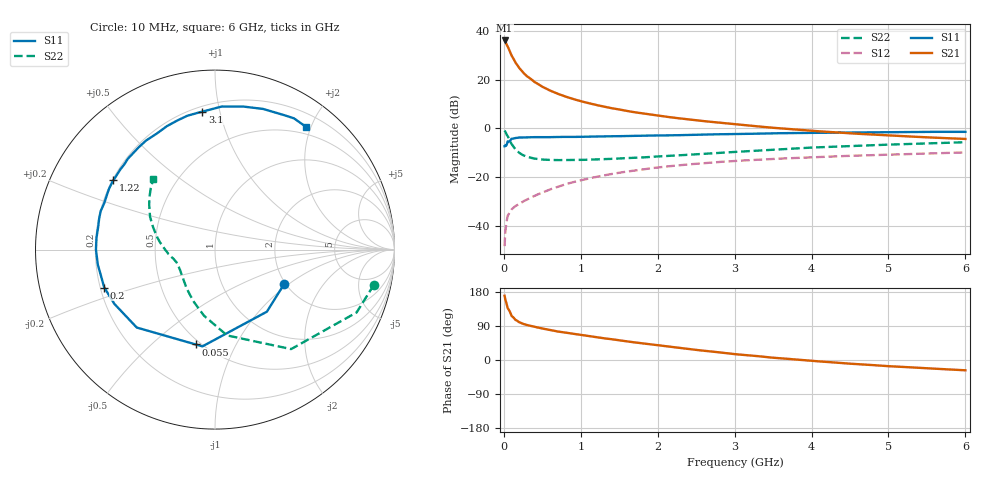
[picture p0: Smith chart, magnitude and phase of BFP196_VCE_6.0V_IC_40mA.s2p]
! Infineon Technologies  Discrete & RF Semiconductors
! BFP196
! VCE = 6.0 V,  IC =  40mA
! Common Emitter S-Parameters:  Jan 2016
# GHz  S  MA  R  50
!  f  S11  S21  S12  S22
! GHz  MAG  ANG  MAG  ANG  MAG  ANG  MAG  ANG
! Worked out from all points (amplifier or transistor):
!   210 points, 10 MHz to 6 GHz, reference 50 ohm
!   highest |S21| = 36.2 dB at 10 MHz (marker M1)
!   |S21| within 3 dB of that: start of sweep to 57.73 MHz
!   unconditionally stable (mu >= 1): 521.2 MHz to 4.445 GHz
!   at 185 MHz: K = 0.64, MSG = 28.5 dB, |S12| = -31.3 dB
!   at 1.52 GHz: K = 1.08, MAG = 11.1 dB, |S12| = -18.1 dB
!   at 6 GHz: K = 0.98, MSG = 2.8 dB, |S12| = -9.8 dB
!   S11 on the Smith chart (normalised r, x): 10 MHz: 1.97, -0.92; 55 MHz: 0.47, -0.70; 200 MHz: 0.22, -0.16; 1.22 GHz: 0.20, +0.30; 3.1 GHz: 0.23, +0.89; 6 GHz: 0.39, +1.93
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0.01  0.4306 -26.2  64.53 169.7  0.0038 80.1  0.9068 -12.5
0.02  0.4508 -50.1  61.15 159.1  0.0078 71.8  0.8633 -23.9
0.05  0.5437 -97.4  48.56 136.8  0.016 57.7  0.6979 -52.6
0.055  0.5393 -101.4  46.7 135.4  0.0165 56.6  0.6706 -54.6
0.1  0.6153 -135.1  31.78 116.4  0.0216 49.1  0.4828 -82.0
0.15  0.6369 -151.6  22.72 106.0  0.0253 45.7  0.3731 -99.5
0.2  0.6521 -161.1  17.56 99.7  0.028 47.3  0.3158 -111.6
0.26  0.6537 -169.0  13.68 94.8  0.0321 50.4  0.2777 -122.4
0.3  0.6582 -172.6  11.89 92.1  0.0345 52.2  0.2629 -127.8
0.4  0.6632 180.0  9.015 87.3  0.0412 55.6  0.2402 -138.2
0.5  0.6635 174.5  7.214 83.0  0.0481 57.6  0.2297 -145.2
0.6  0.6627 169.3  6.024 79.1  0.0558 58.9  0.2254 -150.0
0.7  0.6684 164.9  5.182 75.2  0.0627 59.5  0.2236 -153.9
0.84  0.6705 159.7  4.33 71.0  0.0742 59.1  0.224 -157.9
1.02  0.6761 152.7  3.572 65.5  0.0873 58.5  0.2257 -161.6
1.22  0.6852 145.7  2.998 59.7  0.1025 57.0  0.2318 -165.2
1.6  0.7014 133.8  2.287 49.2  0.1299 52.7  0.246 -170.7
2.02  0.719 121.7  1.822 38.5  0.159 47.1  0.2662 -176.8
3.1  0.7719 95.2  1.182 13.8  0.2191 31.9  0.3359 166.3
4.1  0.8147 77.1  0.874 -3.7  0.259 19.5  0.4108 152.0
5.1  0.8404 63.6  0.707 -17.3  0.2932 8.5  0.4708 140.7
6  0.8516 53.4  0.609 -27.2  0.322 -1.4  0.5218 131.2
